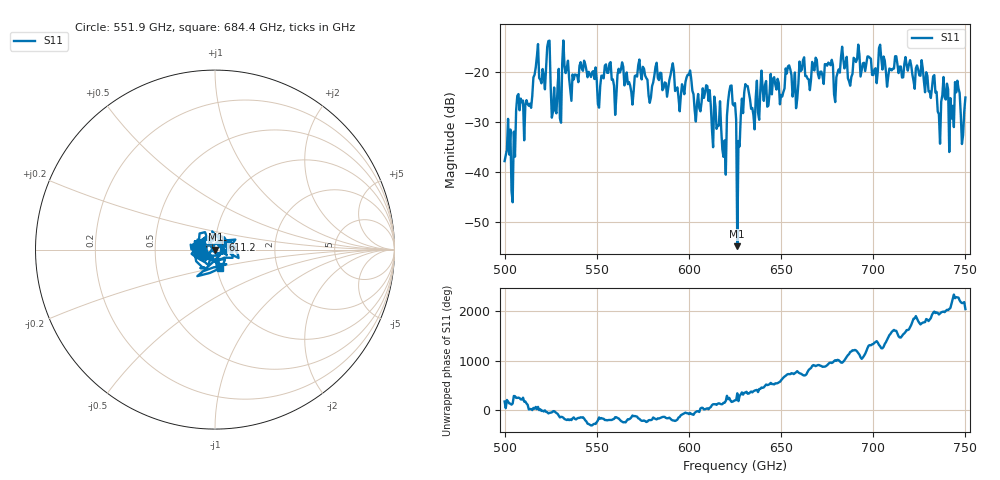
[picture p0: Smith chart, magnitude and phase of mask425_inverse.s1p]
!Created with skrf (http://scikit-rf.org).
# GHz S MA R 50.0
!freq magS11 angS11
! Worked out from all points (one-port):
!   401 points, 500 GHz to 750 GHz, reference 50 ohm
!   lowest |S11| = -54.7 dB at 626.2 GHz (marker M1), VSWR 1.00, Z = 50.2 - j0.0531 ohm
!   |S11| at or under -10 dB: start of sweep to end of sweep
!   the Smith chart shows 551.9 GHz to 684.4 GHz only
!   S11 on the Smith chart (normalised r, x): 551.9 GHz: 0.87, -0.03; 611.2 GHz: 1.08, +0.11; 684.4 GHz: 1.03, -0.22
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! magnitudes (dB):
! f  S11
! 500 GHz  -37.8
! 504.4 GHz  -46.0
! 507.5 GHz  -24.4
! 513.8 GHz  -26.3
! 516.9 GHz  -19.2
! 523.8 GHz  -13.9
! 526.9 GHz  -23.1
! 531.2 GHz  -18.3
! 551.9 GHz  -22.8
! 562.5 GHz  -20.2
! 593.8 GHz  -23.1
! 600 GHz  -20.6
! 611.2 GHz  -23.6
! 618.8 GHz  -36.9
! 623.1 GHz  -22.7
! 625 GHz  -26.2
! 626.2 GHz  -54.7
! 631.2 GHz  -22.8
! 634.4 GHz  -27.2
! 656.2 GHz  -24.9
! 684.4 GHz  -19.3
! 687.5 GHz  -22.8
! 718.8 GHz  -19.8
! 735.6 GHz  -28.4
! 739.4 GHz  -25.5
! 742.5 GHz  -29.3
! 745.6 GHz  -21.8
! 750 GHz  -25.1
